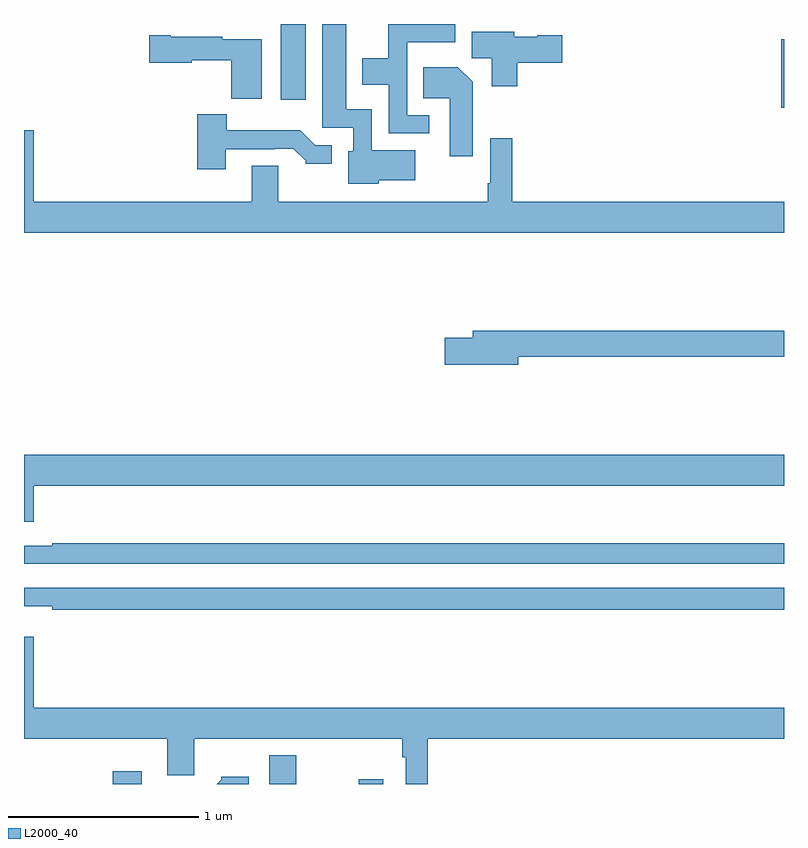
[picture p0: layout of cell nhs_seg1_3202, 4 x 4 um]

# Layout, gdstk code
import gdstk
lib = gdstk.Library(unit=1e-6, precision=1e-09)
def R(c, l, rs):  # rectangles x0, y0, x1, y1
    for r in rs: c.add(gdstk.rectangle(r[:2], r[2:], *l))
def P(c, l, *ps):  # polygons
    for p in ps: c.add(gdstk.Polygon(p, *l))
L2000_40 = (2000, 40)

nhs_seg1_3202 = lib.new_cell('nhs_seg1_3202')
R(nhs_seg1_3202, L2000_40, [(285.467,514.199,285.619,514.267), (286.29,514.199,286.434,514.351), (286.762,514.199,286.891,514.225), (288.986,517.758,289,518.118), (286.352,517.8,286.483,518.199)])
P(nhs_seg1_3202, L2000_40, [(286.866,517.376),(287.059,517.376),(287.059,517.534),(286.83,517.534),(286.83,517.75),(286.696,517.75),(286.696,518.199),(286.571,518.199),(286.571,517.653),(286.734,517.653),(286.734,517.53),(286.706,517.53),(286.706,517.358),(286.866,517.358)],
  [(287.134,517.719),(287.016,517.719),(287.016,518.102),(287.269,518.102),(287.269,518.199),(286.918,518.199),(286.918,518.02),(286.781,518.02),(286.781,517.88),(286.92,517.88),(286.92,517.623),(287.134,517.623)],
  [(287.597,517.996),(287.833,517.996),(287.833,518.139),(287.7,518.139),(287.7,518.131),(287.58,518.131),(287.58,518.158),(287.357,518.158),(287.357,518.02),(287.462,518.02),(287.462,517.871),(287.597,517.871)],
  [(286.252,518.119),(286.044,518.119),(286.044,518.131),(285.772,518.131),(285.772,518.139),(285.66,518.139),(285.66,517.996),(285.882,517.996),(285.882,518.009),(286.09,518.009),(286.09,517.805),(286.252,517.805)],
  [(287.362,517.894),(287.284,517.972),(287.101,517.972),(287.101,517.808),(287.24,517.808),(287.24,517.503),(287.362,517.503)],
  [(286.063,517.539),(286.319,517.539),(286.319,517.542),(286.418,517.542),(286.482,517.478),(286.482,517.463),(286.621,517.463),(286.621,517.56),(286.533,517.56),(286.455,517.639),(286.066,517.639),(286.066,517.723),(285.911,517.723),(285.911,517.434),(286.063,517.434)],
  [(289,517.264),(287.57,517.264),(287.57,517.597),(287.454,517.597),(287.454,517.36),(287.442,517.36),(287.442,517.264),(286.339,517.264),(286.339,517.454),(286.199,517.454),(286.199,517.264),(285.052,517.264),(285.052,517.639),(285,517.639),(285,517.1),(289,517.1)],
  [(287.602,516.448),(289,516.448),(289,516.584),(287.363,516.584),(287.363,516.548),(287.214,516.548),(287.214,516.406),(287.602,516.406)],
  [(285.052,515.768),(289,515.768),(289,515.932),(285,515.932),(285,515.58),(285.052,515.58)],
  [(289,515.467),(285.148,515.467),(285.148,515.454),(285,515.454),(285,515.358),(289,515.358)],
  [(289,515.232),(285,515.232),(285,515.135),(285.148,515.135),(285.148,515.116),(289,515.116)],
  [(287.126,514.436),(289,514.436),(289,514.6),(285.052,514.6),(285.052,514.975),(285,514.975),(285,514.436),(285.755,514.436),(285.755,514.246),(285.895,514.246),(285.895,514.436),(286.99,514.436),(286.99,514.34),(287.01,514.34),(287.01,514.199),(287.126,514.199)],
  [(286.183,514.237),(286.038,514.237),(286.038,514.222),(286.015,514.199),(286.183,514.199)])

lib.write_gds('nhs_seg1_3202.gds')
